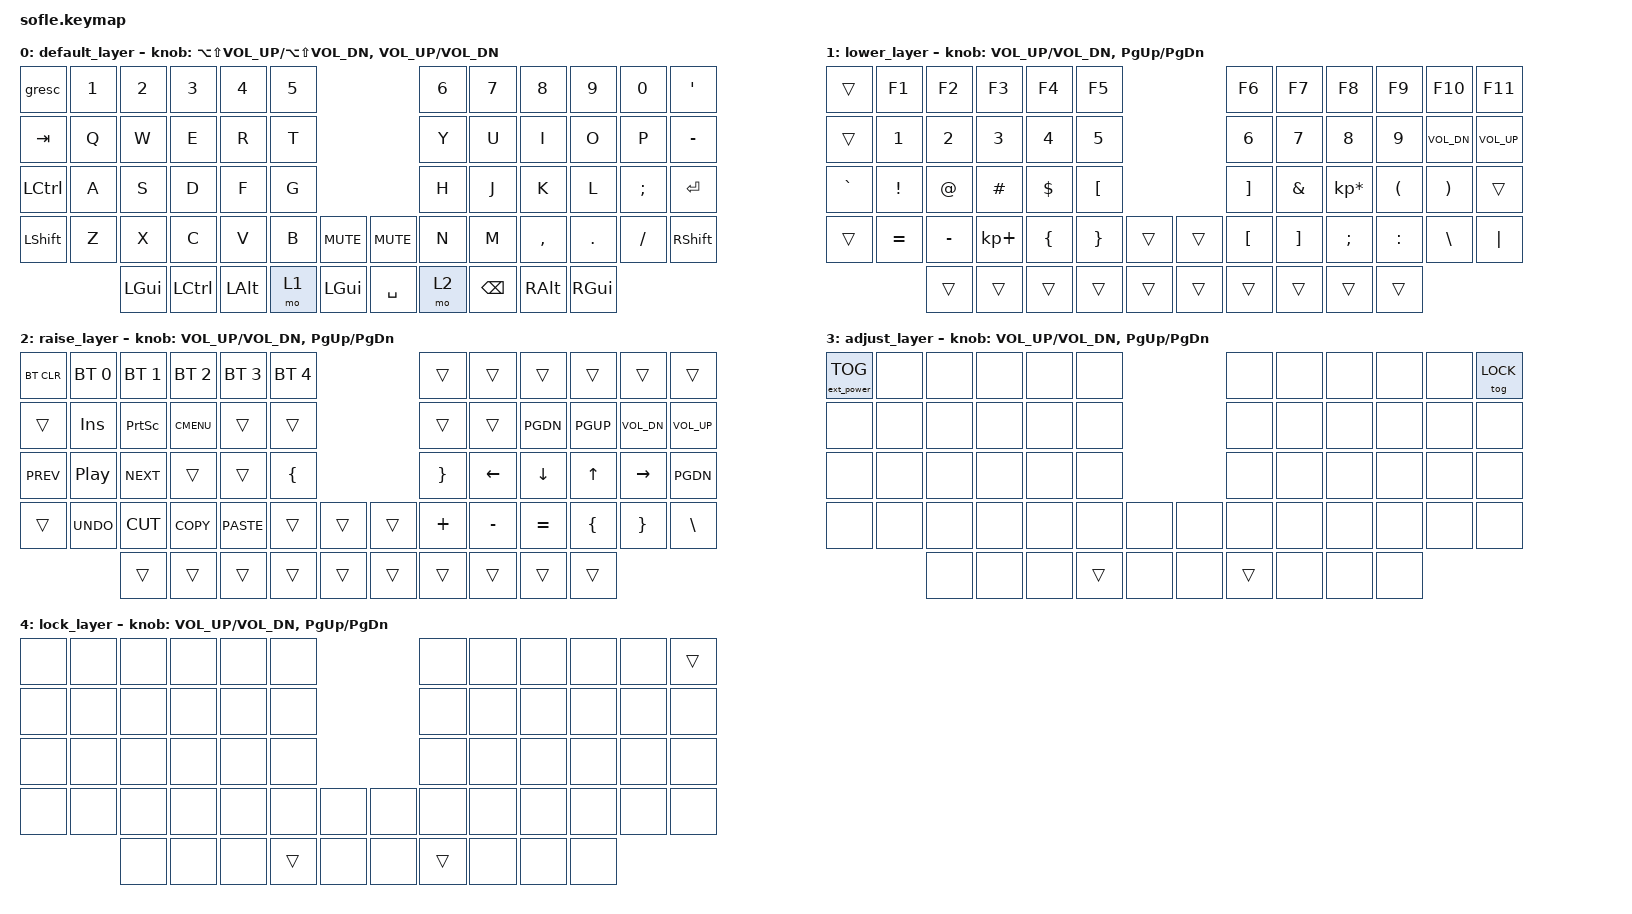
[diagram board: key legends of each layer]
/*
 * Copyright (c) 2020 The ZMK Contributors
 *
 * SPDX-License-Identifier: MIT
 */

#include <behaviors.dtsi>
#include <dt-bindings/zmk/keys.h>
#include <dt-bindings/zmk/bt.h>
#include <dt-bindings/zmk/ext_power.h>

#define LOWER 1
#define RAISE 2
#define ADJUST 3
#define LOCK 4

/ {
    conditional_layers {
        compatible = "zmk,conditional-layers";

        tri_layer {
            if-layers = <LOWER RAISE>;
            then-layer = <ADJUST>;
        };
    };

    keymap {
        compatible = "zmk,keymap";

        default_layer {
// ------------------------------------------------------------------------------------------------------------
// | ESC/` |  1  |  2  |  3   |  4   |  5   |                   |  6   |  7    |  8    |  9   |   0   |       |
// |  TAB  |  Q  |  W  |  E   |  R   |  T   |                   |  Y   |  U    |  I    |  O   |   P   | BKSPC |
// |  CTRL |  A  |  S  |  D   |  F   |  G   |                   |  H   |  J    |  K    |  L   |   ;   |   '   |
// | SHIFT |  Z  |  X  |  C   |  V   |  B   |  MUTE  |  |       |  N   |  M    |  ,    |  .   |   /   | SHIFT |
//               | GUI | CTRL | ALT  | LOWER|  ENTER |  | SPACE | RAISE| CTRL  | ALT   | GUI  |
            bindings = <
&gresc    &kp N1 &kp N2   &kp N3    &kp N4    &kp N5                       &kp N6 &kp N7    &kp N8    &kp N9   &kp N0   &kp SQT
&kp TAB   &kp Q  &kp W    &kp E     &kp R     &kp T                        &kp Y  &kp U     &kp I     &kp O    &kp P    &kp MINUS
&kp LCTRL &kp A  &kp S    &kp D     &kp F     &kp G                        &kp H  &kp J     &kp K     &kp L    &kp SEMI &kp RET
&kp LSHFT &kp Z  &kp X    &kp C     &kp V     &kp B  &kp C_MUTE &kp C_MUTE &kp N  &kp M     &kp COMMA &kp DOT  &kp FSLH &kp RSHFT
                 &kp LGUI &kp LCTRL &kp LALT  &mo 1  &kp LGUI   &kp SPACE  &mo 2  &kp BSPC  &kp RALT  &kp RGUI
            >;

            sensor-bindings = <&inc_dec_kp LA(LS(C_VOL_UP)) LA(LS(C_VOL_DN)) &inc_dec_kp C_VOL_UP C_VOL_DN>;
        };

        lower_layer {
// ------------------------------------------------------------------------------------------------------------
// |       |  F1 |  F2 |  F3  |  F4  |  F5  |                   |  F6  |  F7   |  F8   |  F9  |  F10  |  F11  |
// | `     |   1 |   2 |   3  |   4  |   5  |                   |   6  |   7   |   8   |   9  |    0  |  F12  |
// |       |  !  |  @  |  #   |  $   |  %   |                   |  ^   |  &    |  *    |  (   |   )   |   |   |
// |       |  =  |  -  |  +   |  {   |  }   |        |  |       |  [   |  ]    |  ;    |  :   |   \   |       |
//               |     |      |      |      |        |  |       |      |       |       |      |
            bindings = <
&trans    &kp F1    &kp F2    &kp F3      &kp F4    &kp F5                    &kp F6    &kp F7   &kp F8          &kp F9    &kp F10      &kp F11
&trans    &kp N1    &kp N2    &kp N3      &kp N4    &kp N5                    &kp N6    &kp N7   &kp N8          &kp N9    &kp C_VOL_DN &kp C_VOL_UP
&kp GRAVE &kp EXCL  &kp AT    &kp HASH    &kp DLLR  &kp LBKT                  &kp RBKT  &kp AMPS &kp KP_MULTIPLY &kp LPAR  &kp RPAR     &trans
&trans    &kp EQUAL &kp MINUS &kp KP_PLUS &kp LBRC  &kp RBRC  &trans   &trans &kp LBKT  &kp RBKT &kp SEMI        &kp COLON &kp BSLH     &kp PIPE
                    &trans    &trans      &trans    &trans    &trans   &trans &trans    &trans   &trans          &trans
            >;

            sensor-bindings = <&inc_dec_kp C_VOL_UP C_VOL_DN &inc_dec_kp PG_UP PG_DN>;
        };

        raise_layer {
// ------------------------------------------------------------------------------------------------------------
// |BTCLR| BT1  | BT2  |  BT3  |  BT4  |  BT5 |                |      |      |       |      |       |       |
// |     | INS  | PSCR | GUI   |       |      |                | PGUP |      |   ^   |      |       |       |
// |     | ALT  | CTRL | SHIFT |       | CAPS |                | PGDN |   <- |   v   |  ->  |  DEL  | BKSPC |
// |     | UNDO | CUT  | COPY  | PASTE |      |      |  |      |      |      |       |      |       |       |
//              |      |       |       |      |      |  |      |      |      |       |      |
            bindings = <
&bt BT_CLR &bt BT_SEL 0 &bt BT_SEL 1 &bt BT_SEL 2 &bt BT_SEL 3 &bt BT_SEL 4             &trans    &trans    &trans    &trans    &trans       &trans
&trans     &kp INS      &kp PSCRN    &kp K_CMENU  &trans       &trans                   &trans    &trans    &kp PGDN  &kp PGUP  &kp C_VOL_DN &kp C_VOL_UP
&kp C_PREV &kp C_PP     &kp C_NEXT   &trans       &trans       &kp LBRC                 &kp RBRC  &kp LEFT  &kp DOWN  &kp UP    &kp RIGHT    &kp PGDN
&trans     &kp K_UNDO   &kp K_CUT    &kp K_COPY   &kp K_PASTE  &trans  &trans   &trans  &kp PLUS  &kp MINUS &kp EQUAL &kp LBRC  &kp RBRC     &kp BSLH
                        &trans       &trans       &trans       &trans  &trans   &trans  &trans    &trans    &trans    &trans
            >;

            sensor-bindings = <&inc_dec_kp C_VOL_UP C_VOL_DN &inc_dec_kp PG_UP PG_DN>;
        };

        adjust_layer {
            bindings = <
&ext_power EP_TOG  &none   &none   &none   &none   &none                    &none   &none   &none   &none   &none   &tog LOCK
&none              &none   &none   &none   &none   &none                    &none   &none   &none   &none   &none   &none
&none              &none   &none   &none   &none   &none                    &none   &none   &none   &none   &none   &none
&none              &none   &none   &none   &none   &none    &none   &none   &none   &none   &none   &none   &none   &none
                           &none   &none   &none   &trans   &none   &none   &trans  &none   &none   &none
            >;

            sensor-bindings = <&inc_dec_kp C_VOL_UP C_VOL_DN &inc_dec_kp PG_UP PG_DN>;
        };

        lock_layer {
            bindings = <
&none   &none   &none   &none   &none   &none                    &none   &none   &none   &none   &none   &trans
&none   &none   &none   &none   &none   &none                    &none   &none   &none   &none   &none   &none
&none   &none   &none   &none   &none   &none                    &none   &none   &none   &none   &none   &none
&none   &none   &none   &none   &none   &none    &none   &none   &none   &none   &none   &none   &none   &none
                &none   &none   &none   &trans   &none   &none   &trans  &none   &none   &none
            >;

            sensor-bindings = <&inc_dec_kp C_VOL_UP C_VOL_DN &inc_dec_kp PG_UP PG_DN>;
        };
    };
};
